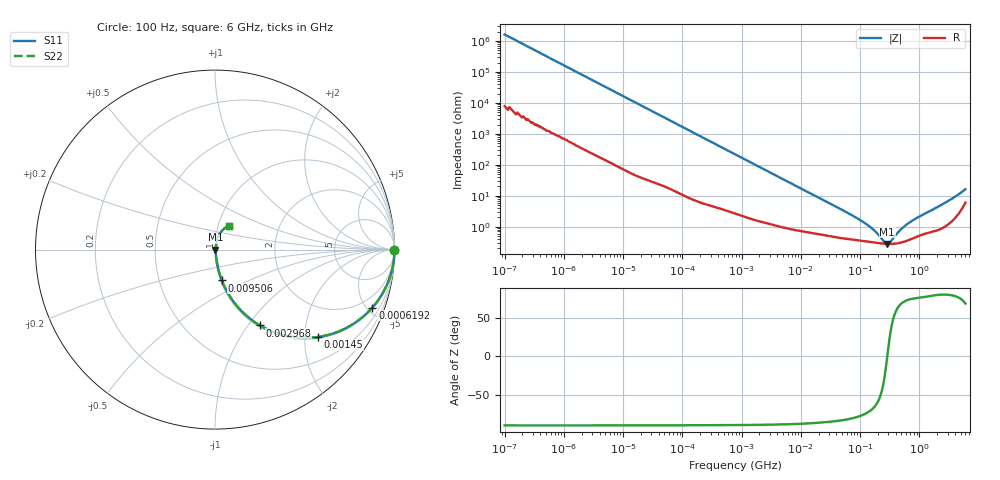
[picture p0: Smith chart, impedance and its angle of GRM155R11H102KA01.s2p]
!Murata Part Number: GRM155R11H102KA01
!These Parameters are Measured in Series Mode Connection
!Data Generated on Mar 30, 2021
!  o--ll--o
!Port1  Port2
!  o------o
!Operation Temp=25[degC], DC Bias Voltage=0[V]
!Freq. Start=100[Hz] Stop=6[GHz] 401[Steps]
# Hz S RI R 50
!Freq.(Hz) S11(Real) S11(Imag) S21(Real) S21(Imag) S12(Real) S12(Imag) S22(Real) S22(Imag)
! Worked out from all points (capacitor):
!   401 points, 100 Hz to 6 GHz, reference 50 ohm
!   read as one part in series: C = 976 pF near 109 Hz
!   lowest |Z| = 278 mohm at 285.7 MHz (marker M1)
!   series resonance near 288.1 MHz, so ESL is about 310 pH
!   S11 on the Smith chart (normalised r, x): 100 Hz: open; 619.2 kHz: 1.06, -5.41; 1.45 MHz: 1.04, -2.32; 2.968 MHz: 1.02, -1.14; 9.506 MHz: 1.01, -0.36; 6 GHz: 1.12, +0.30
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100  1 -6.14e-05  3e-07 6.14e-05  3e-07 6.14e-05  1 -6.14e-05
150  1 -9.18e-05  4e-07 9.18e-05  4e-07 9.18e-05  1 -9.18e-05
179  1 -0.00011  5e-07 0.00011  5e-07 0.00011  1 -0.00011
2008  1 -0.00122  6.6e-06 0.00122  6.6e-06 0.00122  1 -0.00122
40335  0.9993 -0.0244  0.000734 0.0244  0.000734 0.0244  0.9993 -0.0244
193316  0.9859 -0.1144  0.0141 0.1144  0.0141 0.1144  0.9859 -0.1144
619225  0.8768 -0.323  0.1232 0.323  0.1232 0.323  0.8768 -0.323
774597  0.821 -0.3773  0.179 0.3773  0.179 0.3773  0.821 -0.3773
1449809  0.573 -0.4871  0.427 0.4871  0.427 0.4871  0.573 -0.4871
2967816  0.2501 -0.4225  0.7499 0.4225  0.7499 0.4225  0.2501 -0.4225
5079039  0.1076 -0.2962  0.8924 0.2962  0.8924 0.2962  0.1076 -0.2962
9506416  0.038 -0.172  0.962 0.172  0.962 0.172  0.038 -0.172
1.555665e7  0.0181 -0.1081  0.9819 0.1081  0.9819 0.1081  0.0181 -0.1081
1.115611e8  0.00364 -0.0139  0.9964 0.0139  0.9964 0.0139  0.00364 -0.0139
1.669249e8  0.00316 -0.00743  0.9968 0.00743  0.9968 0.00743  0.00316 -0.00743
2.497637e8  0.00283 -0.00191  0.9972 0.00191  0.9972 0.00191  0.00283 -0.00191
2.856706e8  0.00278 -0.000112  0.9972 0.000112  0.9972 0.000112  0.00278 -0.000112
3.124326e8  0.00276 0.0011  0.9972 -0.0011  0.9972 -0.0011  0.00276 0.0011
4.888888e8  0.0031 0.00751  0.9969 -0.00751  0.9969 -0.00751  0.0031 0.00751
6.994765e8  0.00401 0.0134  0.996 -0.0134  0.996 -0.0134  0.00401 0.0134
3.205649e9  0.0171 0.068  0.9829 -0.068  0.9829 -0.068  0.0171 0.068
6e9  0.0753 0.1322  0.9247 -0.1322  0.9247 -0.1322  0.0753 0.1322
